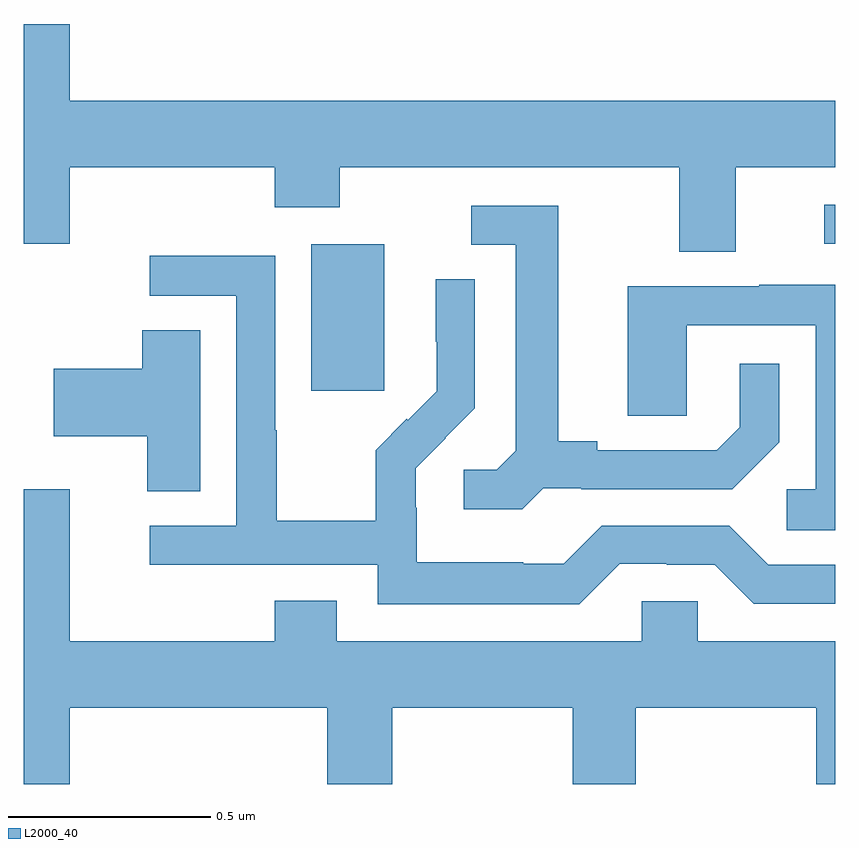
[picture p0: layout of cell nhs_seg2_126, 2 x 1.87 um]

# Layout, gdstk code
import gdstk
lib = gdstk.Library(unit=1e-6, precision=1e-09)
def R(c, l, rs):  # rectangles x0, y0, x1, y1
    for r in rs: c.add(gdstk.rectangle(r[:2], r[2:], *l))
def P(c, l, *ps):  # polygons
    for p in ps: c.add(gdstk.Polygon(p, *l))
L2000_40 = (2000, 40)

nhs_seg2_126 = lib.new_cell('nhs_seg2_126')
R(nhs_seg2_126, L2000_40, [(112.709,629.769,112.888,630.13), (113.973,630.132,114,630.228)])
P(nhs_seg2_126, L2000_40, [(113.755,630.32),(114,630.32),(114,630.484),(112.114,630.484),(112.114,630.673),(112,630.673),(112,630.132),(112.114,630.132),(112.114,630.32),(112.619,630.32),(112.619,630.221),(112.779,630.221),(112.779,630.32),(113.615,630.32),(113.615,630.112),(113.755,630.112)],
  [(113.28,629.529),(113.374,629.529),(113.374,629.526),(113.746,629.526),(113.862,629.642),(113.862,629.836),(113.765,629.836),(113.765,629.679),(113.708,629.622),(113.413,629.622),(113.413,629.645),(113.317,629.645),(113.317,630.225),(113.103,630.225),(113.103,630.129),(113.213,630.129),(113.213,629.621),(113.166,629.574),(113.085,629.574),(113.085,629.477),(113.228,629.477)],
  [(113.469,629.343),(113.585,629.343),(113.585,629.34),(113.703,629.34),(113.799,629.244),(114,629.244),(114,629.34),(113.835,629.34),(113.739,629.436),(113.424,629.436),(113.331,629.343),(113.231,629.343),(113.231,629.347),(112.968,629.347),(112.968,629.481),(112.966,629.481),(112.966,629.578),(113.04,629.652),(113.039,629.653),(113.112,629.726),(113.112,630.044),(113.016,630.044),(113.016,629.89),(113.018,629.89),(113.018,629.768),(112.947,629.697),(112.944,629.7),(112.867,629.623),(112.867,629.449),(112.623,629.449),(112.623,629.672),(112.62,629.672),(112.62,630.102),(112.311,630.102),(112.311,630.003),(112.524,630.003),(112.524,629.436),(112.311,629.436),(112.311,629.34),(112.872,629.34),(112.872,629.243),(113.369,629.243)],
  [(114,630.031),(113.813,630.031),(113.813,630.027),(113.489,630.027),(113.489,629.707),(113.634,629.707),(113.634,629.931),(113.952,629.931),(113.952,629.526),(113.88,629.526),(113.88,629.425),(114,629.425)],
  [(112.435,629.918),(112.292,629.918),(112.292,629.823),(112.074,629.823),(112.074,629.657),(112.304,629.657),(112.304,629.521),(112.435,629.521)],
  [(112.114,628.988),(112.748,628.988),(112.748,628.8),(112.908,628.8),(112.908,628.988),(113.353,628.988),(113.353,628.8),(113.508,628.8),(113.508,628.988),(113.953,628.988),(113.953,628.8),(114,628.8),(114,629.152),(113.661,629.152),(113.661,629.25),(113.523,629.25),(113.523,629.152),(112.771,629.152),(112.771,629.251),(112.619,629.251),(112.619,629.152),(112.114,629.152),(112.114,629.527),(112,629.527),(112,628.8),(112.114,628.8)])

lib.write_gds('nhs_seg2_126.gds')
